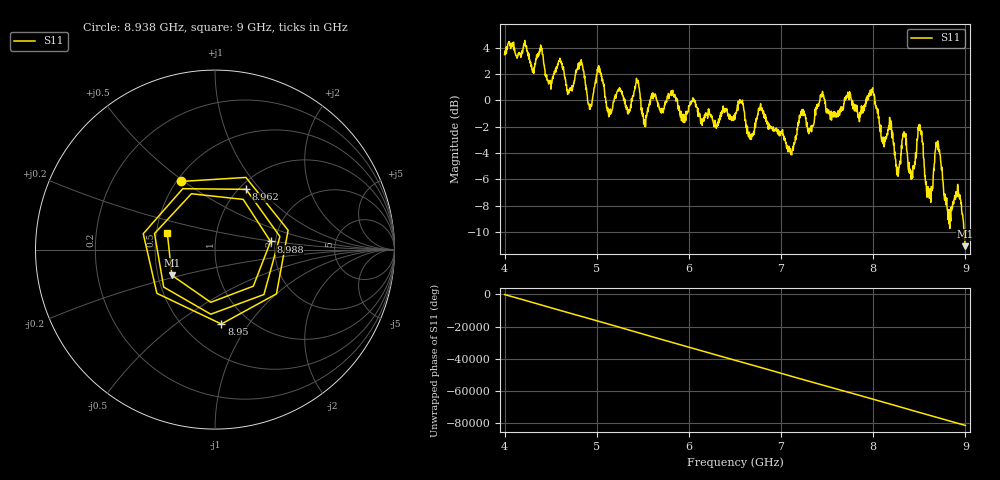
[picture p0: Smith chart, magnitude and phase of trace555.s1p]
! Created with skrf 1.8.0 (http://scikit-rf.org).
# Hz S RI R 50.0
!freq ReS11 ImS11
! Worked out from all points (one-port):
!   1601 points, 4 GHz to 9 GHz, reference 50 ohm
!   lowest |S11| = -11.1 dB at 8.997 GHz (marker M1), VSWR 1.78, Z = 29.6 - j9.18 ohm
!   |S11| at or under -10 dB: 8.986338 GHz to end of sweep
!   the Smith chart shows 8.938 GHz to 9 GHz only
!   S11 on the Smith chart (normalised r, x): 8.938 GHz: 0.53, +0.49; 8.95 GHz: 0.75, -0.75; 8.962 GHz: 1.08, +0.84; 8.988 GHz: 1.88, +0.19; 9 GHz: 0.57, +0.12
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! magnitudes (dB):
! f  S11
! 4 GHz  3.5
! 4.625 GHz  2.5
! 4.7 GHz  0.7
! 4.834 GHz  2.9
! 4.925 GHz  -0.5
! 5.022 GHz  2.6
! 5.134 GHz  -1.1
! 5.25 GHz  0.7
! 5.875 GHz  0.1
! 6.5 GHz  -1.2
! 7.125 GHz  -3.7
! 7.222 GHz  -1.1
! 7.75 GHz  0.3
! 7.991 GHz  0.9
! 8.262 GHz  -5.6
! 8.334 GHz  -2.4
! 8.375 GHz  -4.5
! 8.431 GHz  -5.0
! 8.509 GHz  -2.0
! 8.603 GHz  -6.9
! 8.697 GHz  -3.2
! 8.816 GHz  -8.8
! 8.938 GHz  -7.5
! 8.95 GHz  -7.6
! 8.962 GHz  -8.5
! 8.988 GHz  -10.1
! 8.997 GHz  -11.1
! 9 GHz  -11.0
